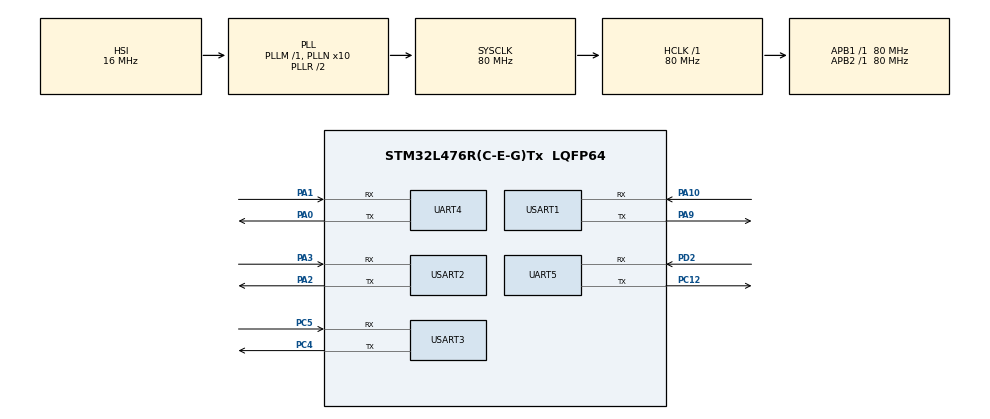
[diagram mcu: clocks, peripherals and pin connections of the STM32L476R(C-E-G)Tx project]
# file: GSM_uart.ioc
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Mcu.Family=STM32L4
Mcu.Name=STM32L476R(C-E-G)Tx
Mcu.Package=LQFP64
NVIC.PriorityGroup=NVIC_PRIORITYGROUP_4
NVIC.UART4_IRQn=true\:0\:0\:false\:false\:true\:true\:true\:true
NVIC.UART5_IRQn=true\:0\:0\:false\:false\:true\:true\:true\:true
NVIC.USART1_IRQn=true\:0\:0\:false\:false\:true\:true\:true\:true
NVIC.USART2_IRQn=true\:0\:0\:false\:false\:true\:true\:true\:true
NVIC.USART3_IRQn=true\:0\:0\:false\:false\:true\:true\:true\:true
PA0.Mode=Asynchronous
PA0.Signal=UART4_TX
PA1.Mode=Asynchronous
PA1.Signal=UART4_RX
PA10.Mode=Asynchronous
PA10.Signal=USART1_RX
PA2.Mode=Asynchronous
PA2.Signal=USART2_TX
PA3.Mode=Asynchronous
PA3.Signal=USART2_RX
PA9.Mode=Asynchronous
PA9.Signal=USART1_TX
PC12.Mode=Asynchronous
PC12.Signal=UART5_TX
PC4.Mode=Asynchronous
PC4.Signal=USART3_TX
PC5.Mode=Asynchronous
PC5.Signal=USART3_RX
PD2.Mode=Asynchronous
PD2.Signal=UART5_RX
ProjectManager.HeapSize=0x200
ProjectManager.StackSize=0x400
ProjectManager.TargetToolchain=STM32CubeIDE
RCC.ADCFreq_Value=64000000
RCC.AHBFreq_Value=80000000
RCC.APB1Freq_Value=80000000
RCC.APB1TimFreq_Value=80000000
RCC.APB2Freq_Value=80000000
RCC.APB2TimFreq_Value=80000000
RCC.CortexFreq_Value=80000000
RCC.HCLKFreq_Value=80000000
RCC.HSE_VALUE=8000000
RCC.HSI_VALUE=16000000
RCC.MSI_VALUE=4000000
RCC.PLLN=10
RCC.PLLSourceVirtual=RCC_PLLSOURCE_HSI
RCC.PREFETCH_ENABLE=1
RCC.SYSCLKFreq_VALUE=80000000
RCC.SYSCLKSource=RCC_SYSCLKSOURCE_PLLCLK
RCC.USBFreq_Value=64000000
RCC.VCOOutputFreq_Value=160000000
USART1.VirtualMode-Asynchronous=VM_ASYNC
USART2.VirtualMode-Asynchronous=VM_ASYNC
USART3.VirtualMode-Asynchronous=VM_ASYNC
board=NUCLEO-L476RG

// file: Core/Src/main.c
/* USER CODE BEGIN Header */
/**
  ******************************************************************************
  * @file           : main.c
  * @brief          : Main program body
  ******************************************************************************
  * @attention
  *
  * Copyright (c) 2024 STMicroelectronics.
  * All rights reserved.
  *
  * This software is licensed under terms that can be found in the LICENSE file
  * in the root directory of this software component.
  * If no LICENSE file comes with this software, it is provided AS-IS.
  *
  ******************************************************************************
  */
/* USER CODE END Header */
#include "main.h"
#include<stdio.h>
#include<string.h>
#include"GSM.h"
int _write(int file,char *ptr,int len)
{
    int i=0;
    for(i=0;i<len;i++)
      ITM_SendChar((*ptr++));
    return len;
}
UART_HandleTypeDef huart4;
UART_HandleTypeDef huart5;
UART_HandleTypeDef huart1;
UART_HandleTypeDef huart2;
UART_HandleTypeDef huart3;

void SystemClock_Config(void);
static void MX_GPIO_Init(void);
static void MX_USART2_UART_Init(void);
static void MX_UART4_Init(void);
static void MX_UART5_Init(void);
static void MX_USART1_UART_Init(void);
static void MX_USART3_UART_Init(void);

/*
void HAL_UART_TxCpltCallback(UART_HandleTypeDef *huart)
{

}
char *send_to_gsm(char * command)
{
	memset(rx,'\0',sizeof(rx));
	 printf("tx start\n");
	 HAL_UART_Transmit_IT(&huart4, (uint8_t *)command,strlen(command));
	 HAL_UART_Receive(&huart4, rx, 200,1000);
	 printf("rx data %s\n",(char *)rx);
	 return (char *)rx;
}

int send_mesg_to_server(char *mes,int size)
{
		char buf[20];
		memset(buf,'\0',sizeof(buf));
		sprintf(buf, "AT+CIPSEND=0,%d\r", strlen(mes));
		memset(rx,'\0',sizeof(rx));
		HAL_UART_Transmit_IT(&huart4,(uint8_t*)buf,16);
		HAL_UART_Receive(&huart4, rx, 200,3000);
		printf("Received data %s\n",rx);
		memset(rx,'\0',sizeof(rx));
		HAL_UART_Transmit_IT(&huart4,(uint8_t*)mes,size);
		HAL_UART_Receive(&huart4, rx, 200,3000);
		printf("Received data %s\n",rx);
		if(strstr((char *)rx,"\r\nOK\r\n")!=NULL)
		{
			printf("mesg send successfully\n");
			return HAL_OK;
		}
		else
		{
			printf("mesg NOT send\n");
			return 1;
		}
	return 1;
}*/
/*
int check(char *command, char *response)
{
	 if((check_signal(response))==0)
	 {
		 printf("match found\n");
		 return 1;
	 }
	 else
	 {
		 printf("match not found\n");
		 return 0;
	 }
	 printf("response data is %s\n",response);
  }
void send_at(char *command,char *response)
{
	memset(rx,'\0',sizeof(rx));
	 printf("tx start\n");
	 //HAL_UART_Transmit(&huart4, (uint8_t *)command,strlen(command),10);
	 HAL_UART_Transmit_IT(&huart4, (uint8_t *)command,strlen(command));
	 HAL_UART_Receive(&huart4, rx, 20,1000);
	 printf("rx data %s\n",(char *)rx);
	 var=check(rx,response);

	// return (char *)rx;
}
*/
int main(void)
{

  /* MCU Configuration--------------------------------------------------------*/

  /* Reset of all peripherals, Initializes the Flash interface and the Systick. */
  HAL_Init();

  /* Configure the system clock */
  SystemClock_Config();

  /* Initialize all configured peripherals */
  MX_GPIO_Init();
  MX_USART2_UART_Init();
  MX_UART4_Init();
  MX_UART5_Init();
  MX_USART1_UART_Init();
  MX_USART3_UART_Init();
int i=0;
int m;
  //char *ptr;
  /* Infinite loop */
  /* USER CODE BEGIN WHILE */
/*send_to_gsm("ATE0\r");
send_at("AT+CSQ\r\n", "\r\n+CSQ: 29,99\r\n");
	  HAL_Delay(5000);
	  send_at("AT+CSQ\r\n", "\r\n+CSQ: 29,99\r\n");
	  	  HAL_Delay(5000);*/
int s1=0;
	  	  while (1)
	  	  {
	  //send_at("ATE0\r\n", "OK");
	 // HAL_Delay(5000);
	  //send_at("AT+CSQ\r\n", "CSQ");
	  //HAL_Delay(5000);
	  		  switch(s1)
	  		  {
	  		  case 0:
	  			m =gsm_init();
	  			if(m==0)
	  			{
	  				s1=1;
	  			}
	  			else
	  			{
	  				s1=0;
	  			}
	  			break;
	  		  case 1:
	  			if(connect_tcp_server()==0)
	  			{
	  				s1=2;

	  			}
	  			else
	  			{
	  				s1=0;
	  			}
	  			break;
	  		case 2:
	  			if(check_server_connection()==0)
	  			{
	  				s1=3;

	  			}
	  			else
	  			{
	  				s1=1;
	  			}
	  			break;
	  		  case 3:
	  			if(send_mesg_to_server("latitude:1727.401123 N, longitude:7822.510254 E,time:12:48:30,date:06012024",strlen("latitude:1727.401123 N, longitude:7822.510254 E,time:12:48:30,date:06012024"))==0)
	  			{
	  				printf("mesg send\n");
	  				s1=3;
	  			}
	  			else
	  			{
	  				s1=2;
	  			}
	  			break;
	  		  case 4:
	  			if(gsm_disconnect_to_server()==0)
	  			{
	  				s1=0;
	  			}
	  			else
	  			{
	  				s1=0;
	  			}
	  			break;
	  		  }
	  	  }
}
    /* USER CODE END WHILE */

    /* USER CODE BEGIN 3 */
	 // ptr=(char *)malloc()
	 /*ptr=send_to_gsm("ATE0\r");
	 if((strncmp(ptr,"\r\nOK\r\n",6))==0)
	 {
		 printf("match found\n");
	 }
	 else
	 {
		 printf("match not found\n");
	 }
	 printf("ptr data is %s\n",ptr);
	 ptr=send_to_gsm("AT+CSQ\r\n");
	 printf("AT+CSQ ptr data is %s\n",ptr);*/
	  /*switch(state)
	  		  	  {
	  		  	  case 0:
	  		  		  switch(substate)
	  		  		  {
	  		  		  case 0:
	  		  			  str = send_to_gsm("ATE0\r");
	  		  			  if(strncmp(str,"\r\nOK\r\n",6))
	  		  			  {
	  		  				  substate=1;
	  		  			  }
	  		  			  else
	  		  			  {
	  		  				  state=1;
	  		  			  }
	  		  			  break;
	  		  		  case 1:
	  		  			  if(strncmp(str,"\r\nERROR\r\n",6))
	  		  			  {
	  		  			  	  state=0;
	  		  			  }
	  		  			  else
	  		  			  {
	  		  			  	  state=0;
	  		  			  }
	  		  			  break;
	  		  		  default:
	  		  			  break;

	  		  		  }
	  		  		  break;
	  		  	 case 1:
	  		  			  printf("success \n");
	  		  			  break;
	  		  	 default:
	  		  		 printf("default state\n");
	  		  		 break;*/
  /* USER CODE END 3 */

void SystemClock_Config(void)
{
  RCC_OscInitTypeDef RCC_OscInitStruct = {0};
  RCC_ClkInitTypeDef RCC_ClkInitStruct = {0};

  /** Configure the main internal regulator output voltage
  */
  if (HAL_PWREx_ControlVoltageScaling(PWR_REGULATOR_VOLTAGE_SCALE1) != HAL_OK)
  {
    Error_Handler();
  }

  /** Initializes the RCC Oscillators according to the specified parameters
  * in the RCC_OscInitTypeDef structure.
  */
  RCC_OscInitStruct.OscillatorType = RCC_OSCILLATORTYPE_HSI;
  RCC_OscInitStruct.HSIState = RCC_HSI_ON;
  RCC_OscInitStruct.HSICalibrationValue = RCC_HSICALIBRATION_DEFAULT;
  RCC_OscInitStruct.PLL.PLLState = RCC_PLL_ON;
  RCC_OscInitStruct.PLL.PLLSource = RCC_PLLSOURCE_HSI;
  RCC_OscInitStruct.PLL.PLLM = 1;
  RCC_OscInitStruct.PLL.PLLN = 10;
  RCC_OscInitStruct.PLL.PLLP = RCC_PLLP_DIV7;
  RCC_OscInitStruct.PLL.PLLQ = RCC_PLLQ_DIV2;
  RCC_OscInitStruct.PLL.PLLR = RCC_PLLR_DIV2;
  if (HAL_RCC_OscConfig(&RCC_OscInitStruct) != HAL_OK)
  {
    Error_Handler();
  }

  /** Initializes the CPU, AHB and APB buses clocks
  */
  RCC_ClkInitStruct.ClockType = RCC_CLOCKTYPE_HCLK|RCC_CLOCKTYPE_SYSCLK
                              |RCC_CLOCKTYPE_PCLK1|RCC_CLOCKTYPE_PCLK2;
  RCC_ClkInitStruct.SYSCLKSource = RCC_SYSCLKSOURCE_PLLCLK;
  RCC_ClkInitStruct.AHBCLKDivider = RCC_SYSCLK_DIV1;
  RCC_ClkInitStruct.APB1CLKDivider = RCC_HCLK_DIV1;
  RCC_ClkInitStruct.APB2CLKDivider = RCC_HCLK_DIV1;

  if (HAL_RCC_ClockConfig(&RCC_ClkInitStruct, FLASH_LATENCY_4) != HAL_OK)
  {
    Error_Handler();
  }
}

static void MX_UART4_Init(void)
{

  huart4.Instance = UART4;
  huart4.Init.BaudRate = 115200;
  huart4.Init.WordLength = UART_WORDLENGTH_8B;
  huart4.Init.StopBits = UART_STOPBITS_1;
  huart4.Init.Parity = UART_PARITY_NONE;
  huart4.Init.Mode = UART_MODE_TX_RX;
  huart4.Init.HwFlowCtl = UART_HWCONTROL_NONE;
  huart4.Init.OverSampling = UART_OVERSAMPLING_16;
  huart4.Init.OneBitSampling = UART_ONE_BIT_SAMPLE_DISABLE;
  huart4.AdvancedInit.AdvFeatureInit = UART_ADVFEATURE_NO_INIT;
  if (HAL_UART_Init(&huart4) != HAL_OK)
  {
    Error_Handler();
  }

}

static void MX_UART5_Init(void)
{

  huart5.Instance = UART5;
  huart5.Init.BaudRate = 115200;
  huart5.Init.WordLength = UART_WORDLENGTH_8B;
  huart5.Init.StopBits = UART_STOPBITS_1;
  huart5.Init.Parity = UART_PARITY_NONE;
  huart5.Init.Mode = UART_MODE_TX_RX;
  huart5.Init.HwFlowCtl = UART_HWCONTROL_NONE;
  huart5.Init.OverSampling = UART_OVERSAMPLING_16;
  huart5.Init.OneBitSampling = UART_ONE_BIT_SAMPLE_DISABLE;
  huart5.AdvancedInit.AdvFeatureInit = UART_ADVFEATURE_NO_INIT;
  if (HAL_UART_Init(&huart5) != HAL_OK)
  {
    Error_Handler();
  }

}

static void MX_USART1_UART_Init(void)
{

  huart1.Instance = USART1;
  huart1.Init.BaudRate = 115200;
  huart1.Init.WordLength = UART_WORDLENGTH_8B;
  huart1.Init.StopBits = UART_STOPBITS_1;
  huart1.Init.Parity = UART_PARITY_NONE;
  huart1.Init.Mode = UART_MODE_TX_RX;
  huart1.Init.HwFlowCtl = UART_HWCONTROL_NONE;
  huart1.Init.OverSampling = UART_OVERSAMPLING_16;
  huart1.Init.OneBitSampling = UART_ONE_BIT_SAMPLE_DISABLE;
  huart1.AdvancedInit.AdvFeatureInit = UART_ADVFEATURE_NO_INIT;
  if (HAL_UART_Init(&huart1) != HAL_OK)
  {
    Error_Handler();
  }

}

static void MX_USART2_UART_Init(void)
{

  huart2.Instance = USART2;
  huart2.Init.BaudRate = 115200;
  huart2.Init.WordLength = UART_WORDLENGTH_8B;
  huart2.Init.StopBits = UART_STOPBITS_1;
  huart2.Init.Parity = UART_PARITY_NONE;
  huart2.Init.Mode = UART_MODE_TX_RX;
  huart2.Init.HwFlowCtl = UART_HWCONTROL_NONE;
  huart2.Init.OverSampling = UART_OVERSAMPLING_16;
  huart2.Init.OneBitSampling = UART_ONE_BIT_SAMPLE_DISABLE;
  huart2.AdvancedInit.AdvFeatureInit = UART_ADVFEATURE_NO_INIT;
  if (HAL_UART_Init(&huart2) != HAL_OK)
  {
    Error_Handler();
  }

}

static void MX_USART3_UART_Init(void)
{

  huart3.Instance = USART3;
  huart3.Init.BaudRate = 115200;
  huart3.Init.WordLength = UART_WORDLENGTH_8B;
  huart3.Init.StopBits = UART_STOPBITS_1;
  huart3.Init.Parity = UART_PARITY_NONE;
  huart3.Init.Mode = UART_MODE_TX_RX;
  huart3.Init.HwFlowCtl = UART_HWCONTROL_NONE;
  huart3.Init.OverSampling = UART_OVERSAMPLING_16;
  huart3.Init.OneBitSampling = UART_ONE_BIT_SAMPLE_DISABLE;
  huart3.AdvancedInit.AdvFeatureInit = UART_ADVFEATURE_NO_INIT;
  if (HAL_UART_Init(&huart3) != HAL_OK)
  {
    Error_Handler();
  }

}

static void MX_GPIO_Init(void)
{

  /* GPIO Ports Clock Enable */
  __HAL_RCC_GPIOA_CLK_ENABLE();
  __HAL_RCC_GPIOC_CLK_ENABLE();
  __HAL_RCC_GPIOD_CLK_ENABLE();

}

void Error_Handler(void)
{
  __disable_irq();
  while (1)
  {
  }
}
